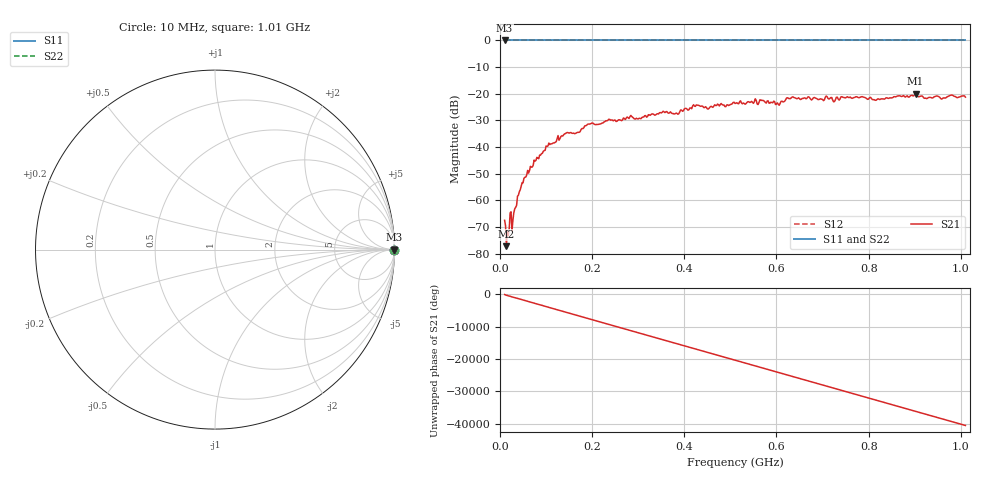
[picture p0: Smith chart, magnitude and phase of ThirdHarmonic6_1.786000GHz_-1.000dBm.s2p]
! 8/16/2025 9:36:04 PM
! C:\ANRITSUVNA\TEMP\TEMP.S2P
! CHANNEL.1
! TR.MEASUREMENT
! RAW.DATA
! RF.CORRECTION.OFF
! AVERAGING.OFF
! IF.BANDWIDTH: 5KHZ
! SWEEPTYPE:  FREQ.SWEEP(Linear)
! Reference Plane Port Info
! PORT:  PORT1  PORT2
! DISTANCE:  0  m  0  m
! TIME:  0  s  0  s
! PHASE.OFFSET:  0  deg.  0  deg.
! LOSS:  0  dB  0  dB
! REF.LOSS:  0  dB  0  dB
! REF.FREQ:  0  Hz  0  Hz
! Power Info
! POWER:  -20  dBm  -20  dBm
! EFF.POWER:  -20  dBm  -20  dBm
! SOURCE.ATTEN:  0  dB  0  dB
! TEST.ATTEN:  0  dB  0  dB
# GHZ S RI R 50.0
! FREQ.GHZ  S11RE  S11IM  S21RE  S21IM  S12RE  S12IM  S22RE  S22IM
!; PortSelection: Port_12
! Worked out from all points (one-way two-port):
!   501 points, 10 MHz to 1.01 GHz, reference 50 ohm
!   highest |S21| = -20.01 dB at 902 MHz (marker M1); lowest = -77.1 dB at 14 MHz (marker M2)
!   lowest |S11| = 0.0 dB at 10 MHz (marker M3)
!   |S11| at or under -10 dB: nowhere
!   |S22| runs from 0.0 to 0.0 dB; largest |S21 - S12| = 1.1
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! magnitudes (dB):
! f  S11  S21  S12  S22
! 10 MHz  0.0  -67.4  0.0  0.0
! 14 MHz  0.0  -77.1  0.0  0.0
! 16 MHz  0.0  -71.3  0.0  0.0
! 20 MHz  0.0  -70.6  0.0  0.0
! 30 MHz  0.0  -64.6  0.0  0.0
! 42 MHz  0.0  -56.7  0.0  0.0
! 50 MHz  0.0  -53.4  0.0  0.0
! 78 MHz  0.0  -45.0  0.0  0.0
! 104 MHz  0.0  -39.6  0.0  0.0
! 142 MHz  0.0  -34.9  0.0  0.0
! 178 MHz  0.0  -33.0  0.0  0.0
! 196 MHz  0.0  -31.3  0.0  0.0
! 344 MHz  0.0  -27.6  0.0  0.0
! 510 MHz  0.0  -23.6  0.0  0.0
! 568 MHz  0.0  -22.5  0.0  0.0
! 602 MHz  0.0  -23.4  0.0  0.0
! 636 MHz  0.0  -21.1  0.0  0.0
! 678 MHz  0.0  -22.0  0.0  0.0
! 844 MHz  0.0  -21.7  0.0  0.0
! 902 MHz  0.0  -20.0  0.0  0.0
! 924 MHz  0.0  -21.6  0.0  0.0
! 1.01 GHz  0.0  -21.2  0.0  0.0
